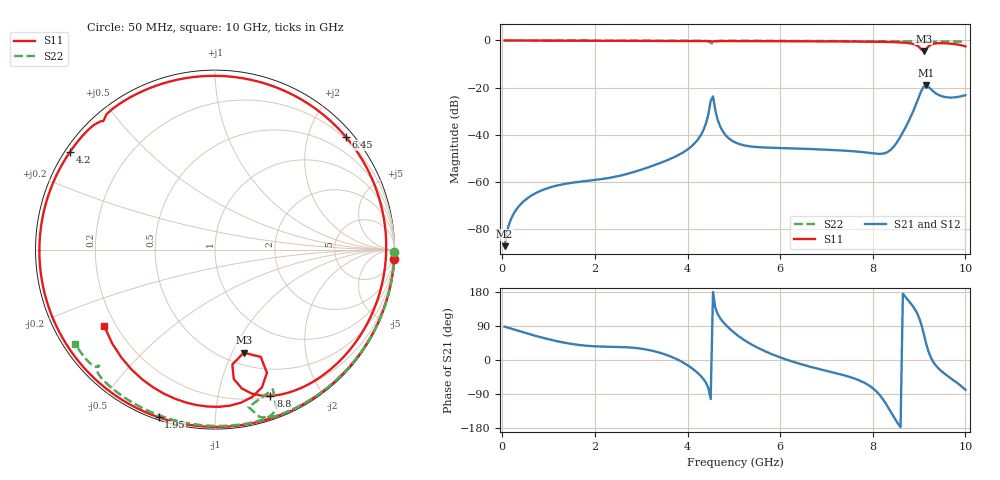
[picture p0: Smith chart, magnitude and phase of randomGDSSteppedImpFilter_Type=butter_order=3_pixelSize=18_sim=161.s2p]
! freq	dB(S11)	phase(S11)	dB(S12)	phase(S12)
!  dB(S21)	phase(S21)	dB(S22)	phase(S22)
!S-par simulation data
#  GHz  S  DB  R 50
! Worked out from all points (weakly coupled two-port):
!   200 points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, 50 MHz to 10 GHz, reference 50 ohm
!   highest |S21| = -19.08 dB at 9.15 GHz (marker M1); lowest = -87.2 dB at 50 MHz (marker M2)
!   lowest |S11| = -4.5 dB at 9.1 GHz (marker M3), VSWR 3.96, Z = 31.1 - j55.5 ohm
!   |S11| at or under -10 dB: nowhere
!   |S22| runs from -1.5 to 0.0 dB; largest |S21 - S12| = 0
!   S11 on the Smith chart (normalised r, x): 50 MHz: 0, -38; 1.95 GHz: 0.01, -0.72; 4.2 GHz: 0.01, +0.30; 6.45 GHz: 0.16, +2.69; 8.8 GHz: 0.21, -1.43; 10 GHz: 0.16, -0.30
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0.05  -0.00 -3.0  -87.22 88.0  -87.22 88.0  -0.00 -0.9
0.65  -0.05 -38.2  -65.51 66.0  -65.51 66.0  -0.01 -11.0
1.2  -0.08 -69.2  -61.43 49.1  -61.43 49.1  -0.03 -20.1
1.75  -0.12 -98.4  -59.72 38.4  -59.72 38.4  -0.04 -29.2
1.95  -0.13 -108.6  -59.27 36.4  -59.27 36.4  -0.04 -32.5
2.7  -0.16 -144.9  -56.56 33.5  -56.56 33.5  -0.06 -44.6
3.4  -0.19 -177.2  -52.04 19.3  -52.04 19.3  -0.07 -55.6
4.2  -0.23 146.2  -42.60 -32.1  -42.60 -32.1  -0.11 -68.5
4.4  -0.25 136.7  -35.03 -60.4  -35.03 -60.4  -0.19 -73.0
4.55  -0.46 131.0  -23.72 179.5  -23.72 179.5  -1.49 -67.5
4.7  -0.26 123.7  -36.24 111.2  -36.24 111.2  -0.17 -72.7
5.05  -0.26 107.1  -43.40 67.9  -43.40 67.9  -0.13 -79.2
5.75  -0.30 73.9  -45.46 19.0  -45.46 19.0  -0.15 -89.5
6.45  -0.33 40.7  -45.88 -11.0  -45.88 -11.0  -0.19 -99.3
6.7  -0.35 29.0  -46.07 -19.4  -46.07 -19.4  -0.20 -102.7
7.5  -0.43 -7.6  -46.86 -44.6  -46.86 -44.6  -0.25 -113.5
8.35  -0.66 -45.9  -46.94 -128.8  -46.94 -128.8  -0.32 -124.9
8.8  -1.20 -69.3  -33.18 152.5  -33.18 152.5  -0.39 -131.3
9.1  -4.49 -74.4  -19.59 69.7  -19.59 69.7  -0.76 -135.2
9.15  -3.74 -66.9  -19.08 44.6  -19.08 44.6  -0.78 -134.9
9.55  -1.19 -96.7  -23.96 -36.1  -23.96 -36.1  -0.51 -139.7
10  -2.50 -145.5  -23.22 -78.4  -23.22 -78.4  -0.55 -145.9
